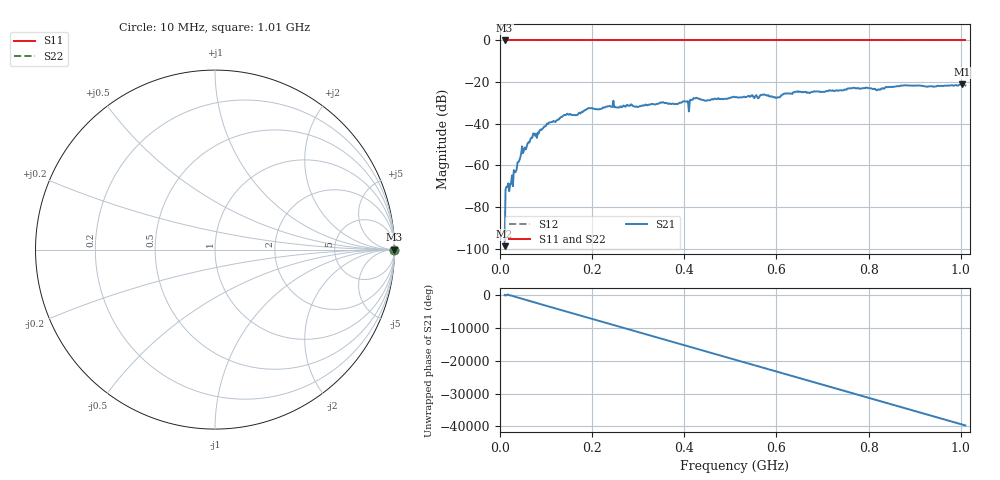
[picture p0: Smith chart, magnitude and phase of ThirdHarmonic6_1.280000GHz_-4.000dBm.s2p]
! 8/16/2025 1:54:54 PM
! C:\ANRITSUVNA\TEMP\TEMP.S2P
! CHANNEL.1
! TR.MEASUREMENT
! RAW.DATA
! RF.CORRECTION.OFF
! AVERAGING.OFF
! IF.BANDWIDTH: 5KHZ
! SWEEPTYPE:  FREQ.SWEEP(Linear)
! Reference Plane Port Info
! PORT:  PORT1  PORT2
! DISTANCE:  0  m  0  m
! TIME:  0  s  0  s
! PHASE.OFFSET:  0  deg.  0  deg.
! LOSS:  0  dB  0  dB
! REF.LOSS:  0  dB  0  dB
! REF.FREQ:  0  Hz  0  Hz
! Power Info
! POWER:  -20  dBm  -20  dBm
! EFF.POWER:  -20  dBm  -20  dBm
! SOURCE.ATTEN:  0  dB  0  dB
! TEST.ATTEN:  0  dB  0  dB
# GHZ S RI R 50.0
! FREQ.GHZ  S11RE  S11IM  S21RE  S21IM  S12RE  S12IM  S22RE  S22IM
!; PortSelection: Port_12
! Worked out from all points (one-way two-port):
!   501 points, 10 MHz to 1.01 GHz, reference 50 ohm
!   highest |S21| = -21.11 dB at 1.002 GHz (marker M1); lowest = -98.8 dB at 10 MHz (marker M2)
!   lowest |S11| = 0.0 dB at 10 MHz (marker M3)
!   |S11| at or under -10 dB: nowhere
!   |S22| runs from 0.0 to 0.0 dB; largest |S21 - S12| = 1.1
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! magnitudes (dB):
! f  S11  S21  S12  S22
! 10 MHz  0.0  -98.8  0.0  0.0
! 16 MHz  0.0  -70.3  0.0  0.0
! 24 MHz  0.0  -68.8  0.0  0.0
! 44 MHz  0.0  -56.2  0.0  0.0
! 70 MHz  0.0  -46.7  0.0  0.0
! 106 MHz  0.0  -39.6  0.0  0.0
! 142 MHz  0.0  -35.8  0.0  0.0
! 178 MHz  0.0  -34.2  0.0  0.0
! 242 MHz  0.0  -31.8  0.0  0.0
! 298 MHz  0.0  -31.9  0.0  0.0
! 344 MHz  0.0  -30.4  0.0  0.0
! 406 MHz  0.0  -29.2  0.0  0.0
! 424 MHz  0.0  -27.8  0.0  0.0
! 448 MHz  0.0  -28.9  0.0  0.0
! 510 MHz  0.0  -27.3  0.0  0.0
! 570 MHz  0.0  -26.0  0.0  0.0
! 602 MHz  0.0  -27.3  0.0  0.0
! 642 MHz  0.0  -24.7  0.0  0.0
! 678 MHz  0.0  -24.7  0.0  0.0
! 844 MHz  0.0  -22.3  0.0  0.0
! 1.002 GHz  0.0  -21.1  0.0  0.0
! 1.01 GHz  0.0  -21.6  0.0  0.0
